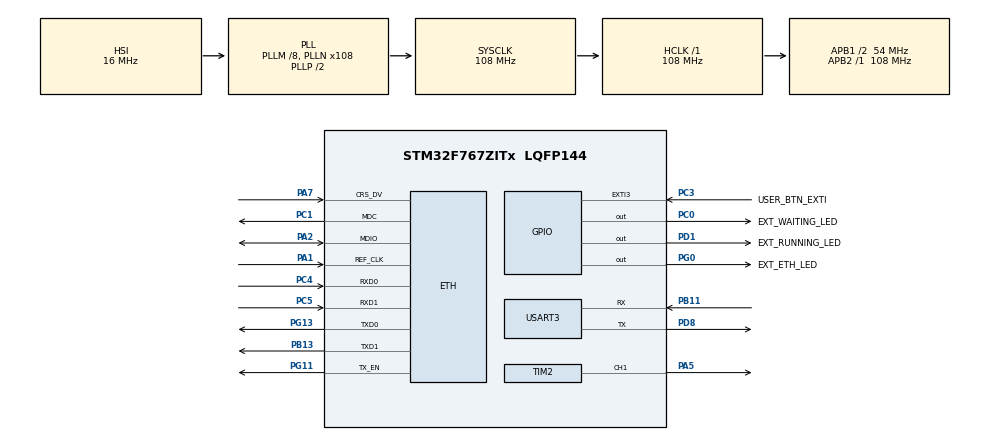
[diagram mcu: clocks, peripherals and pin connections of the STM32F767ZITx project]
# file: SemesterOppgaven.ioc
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CORTEX_M7.default_mode_Activation=1
ETH.MediaInterface=HAL_ETH_RMII_MODE
LWIP.BSP.number=1
LWIP.MEM_SIZE=16384
LWIP.Version=v2.1.2_Cube
LWIP0.BSP.STBoard=false
LWIP0.BSP.api=BSP_COMPONENT_DRIVER
LWIP0.BSP.component=LAN8742
LWIP0.BSP.instance=LAN8742
LWIP0.BSP.name=Driver_PHY
LWIP0.BSP.semaphore=S_LAN8742
LWIP0.BSP.solution=LAN8742
Mcu.Family=STM32F7
Mcu.Name=STM32F767ZITx
Mcu.Package=LQFP144
NVIC.EXTI3_IRQn=true\:0\:0\:false\:false\:true\:true\:true\:true
NVIC.PriorityGroup=NVIC_PRIORITYGROUP_4
NVIC.TIM2_IRQn=true\:0\:0\:false\:false\:true\:true\:true\:true
PA1.Mode=RMII
PA1.Signal=ETH_REF_CLK
PA2.Mode=RMII
PA2.Signal=ETH_MDIO
PA5.Signal=S_TIM2_CH1_ETR
PA7.Mode=RMII
PA7.Signal=ETH_CRS_DV
PB11.Mode=Asynchronous
PB11.Signal=USART3_RX
PB13.Mode=RMII
PB13.Signal=ETH_TXD1
PC0.GPIO_Label=EXT_WAITING_LED
PC0.Signal=GPIO_Output
PC1.Mode=RMII
PC1.Signal=ETH_MDC
PC3.GPIO_Label=USER_BTN_EXTI
PC3.Signal=GPXTI3
PC4.Mode=RMII
PC4.Signal=ETH_RXD0
PC5.Mode=RMII
PC5.Signal=ETH_RXD1
PD1.GPIO_Label=EXT_RUNNING_LED
PD1.Signal=GPIO_Output
PD8.Mode=Asynchronous
PD8.Signal=USART3_TX
PG0.GPIO_Label=EXT_ETH_LED
PG0.Signal=GPIO_Output
PG11.Mode=RMII
PG11.Signal=ETH_TX_EN
PG13.Mode=RMII
PG13.Signal=ETH_TXD0
PH0/OSC_IN.Mode=HSE-External-Oscillator
PH0/OSC_IN.Signal=RCC_OSC_IN
PH1/OSC_OUT.Mode=HSE-External-Oscillator
PH1/OSC_OUT.Signal=RCC_OSC_OUT
ProjectManager.HeapSize=0x200
ProjectManager.StackSize=0x400
ProjectManager.TargetToolchain=STM32CubeIDE
RCC.48MHZClocksFreq_Value=24000000
RCC.AHBFreq_Value=108000000
RCC.APB1CLKDivider=RCC_HCLK_DIV2
RCC.APB1Freq_Value=54000000
RCC.APB1TimFreq_Value=108000000
RCC.APB2Freq_Value=108000000
RCC.APB2TimFreq_Value=108000000
RCC.CortexFreq_Value=108000000
RCC.HCLKFreq_Value=108000000
RCC.HSE_VALUE=16000000
RCC.HSI_VALUE=16000000
RCC.LSE_VALUE=32768
RCC.PLLM=8
RCC.PLLMUL=RCC_PLL_MUL9
RCC.PLLN=108
RCC.PRESCALERUSB=RCC_USBCLKSOURCE_PLL_DIV1_5
RCC.SYSCLKFreq_VALUE=108000000
RCC.SYSCLKSource=RCC_SYSCLKSOURCE_PLLCLK
RCC.SYSCLKSourceVirtual=RCC_SYSCLKSOURCE_PLLCLK
RCC.USBFreq_Value=108000000
RCC.VCOOutputFreq_Value=216000000
SH.S_TIM2_CH1_ETR.0=TIM2_CH1,Output Compare1 CH1
TIM2.Channel-Output\ Compare1\ CH1=TIM_CHANNEL_1
TIM2.OC1Preload=DISABLE
TIM2.Period=4294967295
TIM2.Prescaler=108-1
TIM2.Pulse-Output\ Compare1\ CH1=10000
USART3.VirtualMode-Asynchronous=VM_ASYNC
VP_LWIP_VS_Enabled.Mode=Enabled
VP_TIM2_VS_ClockSourceINT.Mode=Internal
board=NUCLEO-F767ZI

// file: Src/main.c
/* USER CODE BEGIN Header */
/**
  ******************************************************************************
  * @file           : main.c
  * @brief          : Main program body
  ******************************************************************************
  * @attention
  *
  * Copyright (c) 2026 STMicroelectronics.
  * All rights reserved.
  *
  * This software is licensed under terms that can be found in the LICENSE file
  * in the root directory of this software component.
  * If no LICENSE file comes with this software, it is provided AS-IS.
  *
  ******************************************************************************
  */
/* USER CODE END Header */
#include "main.h"
#include "lwip.h"

/* USER CODE BEGIN Includes */
#include "lwip/netif.h"
#include "lwip/ip4_addr.h"
#include "lwip/tcp.h"
#include <stdio.h>
#include <string.h>
/* USER CODE END Includes */

TIM_HandleTypeDef htim2;

UART_HandleTypeDef huart3;

/* USER CODE BEGIN PV */
static struct tcp_pcb *http_pcb = NULL;

extern struct netif gnetif;

uint8_t ipPrinted = 0;

volatile uint8_t httpUpdatePending = 0;

uint32_t lastHttpUpdate = 0;

typedef enum {
  WAITING,
  ENTERING,
  RUNNING
} ChronometerState;

volatile ChronometerState state = WAITING;
volatile uint32_t newChronometer = 0;
volatile uint32_t timer_flag = 0; // Flag to indicate that the timer has elapsed
/* USER CODE END PV */

void SystemClock_Config(void);
static void MPU_Config(void);
static void MX_GPIO_Init(void);
static void MX_TIM2_Init(void);
static void MX_USART3_UART_Init(void);
/* USER CODE BEGIN PFP */
static void send_chronometer_post(void);
static err_t http_connected(void *arg,struct tcp_pcb *tpcb, err_t err);
static err_t http_receive(void *arg,struct tcp_pcb *tpcb,struct pbuf *p,err_t err);
static void http_error(void *arg,err_t err);

/* USER CODE END PFP */

/* USER CODE BEGIN 0 */
volatile uint32_t elapsedTime = 0; // // TIM2 elapsed count in microseconds
volatile uint32_t lastButtonPressTime = 0; // Variable to hold the last button press time
volatile uint32_t finalCount = 0;   // Saved TIM2 value at Stop press
volatile uint8_t stopEvent = 0;     // Tells main loop a stop occurred
char msg [100]; // Buffer to hold the message to be sent over UART
/* USER CODE END 0 */

int main(void)
{

  /* MPU Configuration--------------------------------------------------------*/
  MPU_Config();

  /* MCU Configuration--------------------------------------------------------*/

  /* Reset of all peripherals, Initializes the Flash interface and the Systick. */
  HAL_Init();

  /* Configure the system clock */
  SystemClock_Config();

  /* Initialize all configured peripherals */
  MX_GPIO_Init();
  MX_TIM2_Init();
  MX_USART3_UART_Init();
  MX_LWIP_Init();

  /* Infinite loop */
  while (1)
  {

    /* USER CODE BEGIN 3 */

    // Process incoming/outgoing Ethernet packets
    MX_LWIP_Process();
      if (!netif_is_link_up(&gnetif))
    {
      HAL_GPIO_WritePin(EXT_ETH_LED_GPIO_Port,EXT_ETH_LED_Pin,GPIO_PIN_RESET); // Reset the Ethernet LED to indicate link down
    }

      if (ipPrinted == 0 && netif_is_link_up(&gnetif) && !ip4_addr_isany_val(*netif_ip4_addr(&gnetif)))
    {
      const ip4_addr_t *ip = netif_ip4_addr(&gnetif);

      int len = snprintf(msg,sizeof(msg),"STM32 IP: %u.%u.%u.%u\r\n",
          ip4_addr1(ip),
          ip4_addr2(ip),
          ip4_addr3(ip),
          ip4_addr4(ip)
        );

        HAL_UART_Transmit(&huart3,(uint8_t *)msg,len,HAL_MAX_DELAY);
          ipPrinted = 1;
          httpUpdatePending = 1;
         }

        // Request a periodic update every 60 seconds
        if (ipPrinted == 1 && (HAL_GetTick() - lastHttpUpdate >= 60000))
      {
        httpUpdatePending = 1;
      }

      // Send update if one is pending and no HTTP connection is already active
        if (ipPrinted == 1 && httpUpdatePending == 1 && http_pcb == NULL)
      {
         httpUpdatePending = 0;
         lastHttpUpdate = HAL_GetTick();
         send_chronometer_post();
      }

       if (state == WAITING && newChronometer == 0 && stopEvent == 0)
      {

          HAL_TIM_OC_Stop_IT(&htim2, TIM_CHANNEL_1); // Stop the timer in output compare mode with interrupt
          state = WAITING; // Reset the state to waiting
          int len = snprintf(msg, sizeof(msg), "Press button to start \r\n");
          HAL_UART_Transmit(&huart3, (uint8_t *)msg, len, HAL_MAX_DELAY);
          HAL_GPIO_WritePin(EXT_WAITING_LED_GPIO_Port, EXT_WAITING_LED_Pin, GPIO_PIN_SET); // Turn on the WAITING LED
          newChronometer = 1; // Set the flag to indicate that we are waiting for button press

    }
      else if (state == ENTERING)
      {
          __HAL_TIM_SET_COUNTER(&htim2, 0); // Set the counter value to 0
          __HAL_TIM_SET_COMPARE(&htim2, TIM_CHANNEL_1, 10000);// Set the compare value to 10000
          HAL_TIM_OC_Start_IT(&htim2, TIM_CHANNEL_1);// Start the timer in output compare mode with interrupt
          HAL_GPIO_WritePin(EXT_WAITING_LED_GPIO_Port, EXT_WAITING_LED_Pin, GPIO_PIN_RESET); // Turn off WAITING LED
          HAL_GPIO_WritePin(EXT_RUNNING_LED_GPIO_Port, EXT_RUNNING_LED_Pin, GPIO_PIN_SET); // Turn on the RUNNING LED

          // Print the start/counting message once
          int len = snprintf(msg, sizeof(msg),"Counting... Press button to stop\r\n");
          HAL_UART_Transmit(&huart3, (uint8_t *)msg, len, HAL_MAX_DELAY);
          state = RUNNING; // Change the state to running

          // Send new RUNNING state to server
          httpUpdatePending = 1;
      }
      else if (state == RUNNING && timer_flag == 1) // Check if the timer has elapsed
          {
              timer_flag = 0; // Reset the flag to indicate that we have handled the timer event
              int len = snprintf(msg, sizeof(msg),"Time in MS: %lu\r\n",elapsedTime / 1000); // Convert microseconds to milliseconds
              HAL_UART_Transmit(&huart3, (uint8_t *)msg, len, HAL_MAX_DELAY);

          }

      if (stopEvent == 1)
          {
            // Stop TIM2. We already saved the important counter value,
            // so it does not matter if CNT moved slightly before this executes.
          HAL_TIM_OC_Stop_IT(&htim2, TIM_CHANNEL_1);
          HAL_GPIO_WritePin(EXT_RUNNING_LED_GPIO_Port, EXT_RUNNING_LED_Pin, GPIO_PIN_RESET); // Turn off the RUNNING LED
          // Convert microseconds to milliseconds.
          uint32_t milliseconds = finalCount / 1000;

          int len = snprintf(msg, sizeof(msg), "Total time: %lu ms\r\n", milliseconds);
           HAL_UART_Transmit(&huart3,(uint8_t *)msg,len, HAL_MAX_DELAY);
           stopEvent = 0;

           // Tell Mongoose that the chronometer stopped
           httpUpdatePending = 1;
          }
  }
  /* USER CODE END 3 */
}

void SystemClock_Config(void)
{
  RCC_OscInitTypeDef RCC_OscInitStruct = {0};
  RCC_ClkInitTypeDef RCC_ClkInitStruct = {0};

  /** Configure the main internal regulator output voltage
  */
  __HAL_RCC_PWR_CLK_ENABLE();
  __HAL_PWR_VOLTAGESCALING_CONFIG(PWR_REGULATOR_VOLTAGE_SCALE3);

  /** Initializes the RCC Oscillators according to the specified parameters
  * in the RCC_OscInitTypeDef structure.
  */
  RCC_OscInitStruct.OscillatorType = RCC_OSCILLATORTYPE_HSI;
  RCC_OscInitStruct.HSIState = RCC_HSI_ON;
  RCC_OscInitStruct.HSICalibrationValue = RCC_HSICALIBRATION_DEFAULT;
  RCC_OscInitStruct.PLL.PLLState = RCC_PLL_ON;
  RCC_OscInitStruct.PLL.PLLSource = RCC_PLLSOURCE_HSI;
  RCC_OscInitStruct.PLL.PLLM = 8;
  RCC_OscInitStruct.PLL.PLLN = 108;
  RCC_OscInitStruct.PLL.PLLP = RCC_PLLP_DIV2;
  RCC_OscInitStruct.PLL.PLLQ = 2;
  RCC_OscInitStruct.PLL.PLLR = 2;
  if (HAL_RCC_OscConfig(&RCC_OscInitStruct) != HAL_OK)
  {
    Error_Handler();
  }

  /** Activate the Over-Drive mode
  */
  if (HAL_PWREx_EnableOverDrive() != HAL_OK)
  {
    Error_Handler();
  }

  /** Initializes the CPU, AHB and APB buses clocks
  */
  RCC_ClkInitStruct.ClockType = RCC_CLOCKTYPE_HCLK|RCC_CLOCKTYPE_SYSCLK
                              |RCC_CLOCKTYPE_PCLK1|RCC_CLOCKTYPE_PCLK2;
  RCC_ClkInitStruct.SYSCLKSource = RCC_SYSCLKSOURCE_PLLCLK;
  RCC_ClkInitStruct.AHBCLKDivider = RCC_SYSCLK_DIV1;
  RCC_ClkInitStruct.APB1CLKDivider = RCC_HCLK_DIV2;
  RCC_ClkInitStruct.APB2CLKDivider = RCC_HCLK_DIV1;

  if (HAL_RCC_ClockConfig(&RCC_ClkInitStruct, FLASH_LATENCY_3) != HAL_OK)
  {
    Error_Handler();
  }
}

static void MX_TIM2_Init(void)
{

  TIM_ClockConfigTypeDef sClockSourceConfig = {0};
  TIM_MasterConfigTypeDef sMasterConfig = {0};
  TIM_OC_InitTypeDef sConfigOC = {0};

  htim2.Instance = TIM2;
  htim2.Init.Prescaler = 108-1;
  htim2.Init.CounterMode = TIM_COUNTERMODE_UP;
  htim2.Init.Period = 4294967295;
  htim2.Init.ClockDivision = TIM_CLOCKDIVISION_DIV1;
  htim2.Init.AutoReloadPreload = TIM_AUTORELOAD_PRELOAD_DISABLE;
  if (HAL_TIM_Base_Init(&htim2) != HAL_OK)
  {
    Error_Handler();
  }
  sClockSourceConfig.ClockSource = TIM_CLOCKSOURCE_INTERNAL;
  if (HAL_TIM_ConfigClockSource(&htim2, &sClockSourceConfig) != HAL_OK)
  {
    Error_Handler();
  }
  if (HAL_TIM_OC_Init(&htim2) != HAL_OK)
  {
    Error_Handler();
  }
  sMasterConfig.MasterOutputTrigger = TIM_TRGO_RESET;
  sMasterConfig.MasterSlaveMode = TIM_MASTERSLAVEMODE_DISABLE;
  if (HAL_TIMEx_MasterConfigSynchronization(&htim2, &sMasterConfig) != HAL_OK)
  {
    Error_Handler();
  }
  sConfigOC.OCMode = TIM_OCMODE_TIMING;
  sConfigOC.Pulse = 10000;
  sConfigOC.OCPolarity = TIM_OCPOLARITY_HIGH;
  sConfigOC.OCFastMode = TIM_OCFAST_DISABLE;
  if (HAL_TIM_OC_ConfigChannel(&htim2, &sConfigOC, TIM_CHANNEL_1) != HAL_OK)
  {
    Error_Handler();
  }
  HAL_TIM_MspPostInit(&htim2);

}

static void MX_USART3_UART_Init(void)
{

  huart3.Instance = USART3;
  huart3.Init.BaudRate = 115200;
  huart3.Init.WordLength = UART_WORDLENGTH_8B;
  huart3.Init.StopBits = UART_STOPBITS_1;
  huart3.Init.Parity = UART_PARITY_NONE;
  huart3.Init.Mode = UART_MODE_TX_RX;
  huart3.Init.HwFlowCtl = UART_HWCONTROL_NONE;
  huart3.Init.OverSampling = UART_OVERSAMPLING_16;
  huart3.Init.OneBitSampling = UART_ONE_BIT_SAMPLE_DISABLE;
  huart3.AdvancedInit.AdvFeatureInit = UART_ADVFEATURE_NO_INIT;
  if (HAL_UART_Init(&huart3) != HAL_OK)
  {
    Error_Handler();
  }

}

static void MX_GPIO_Init(void)
{
  GPIO_InitTypeDef GPIO_InitStruct = {0};

  /* GPIO Ports Clock Enable */
  __HAL_RCC_GPIOH_CLK_ENABLE();
  __HAL_RCC_GPIOC_CLK_ENABLE();
  __HAL_RCC_GPIOA_CLK_ENABLE();
  __HAL_RCC_GPIOG_CLK_ENABLE();
  __HAL_RCC_GPIOB_CLK_ENABLE();
  __HAL_RCC_GPIOD_CLK_ENABLE();

  /*Configure GPIO pin Output Level */
  HAL_GPIO_WritePin(EXT_WAITING_LED_GPIO_Port, EXT_WAITING_LED_Pin, GPIO_PIN_RESET);

  /*Configure GPIO pin Output Level */
  HAL_GPIO_WritePin(EXT_ETH_LED_GPIO_Port, EXT_ETH_LED_Pin, GPIO_PIN_RESET);

  /*Configure GPIO pin Output Level */
  HAL_GPIO_WritePin(EXT_RUNNING_LED_GPIO_Port, EXT_RUNNING_LED_Pin, GPIO_PIN_RESET);

  /*Configure GPIO pin : EXT_WAITING_LED_Pin */
  GPIO_InitStruct.Pin = EXT_WAITING_LED_Pin;
  GPIO_InitStruct.Mode = GPIO_MODE_OUTPUT_PP;
  GPIO_InitStruct.Pull = GPIO_NOPULL;
  GPIO_InitStruct.Speed = GPIO_SPEED_FREQ_LOW;
  HAL_GPIO_Init(EXT_WAITING_LED_GPIO_Port, &GPIO_InitStruct);

  /*Configure GPIO pin : USER_BTN_EXTI_Pin */
  GPIO_InitStruct.Pin = USER_BTN_EXTI_Pin;
  GPIO_InitStruct.Mode = GPIO_MODE_IT_RISING;
  GPIO_InitStruct.Pull = GPIO_NOPULL;
  HAL_GPIO_Init(USER_BTN_EXTI_GPIO_Port, &GPIO_InitStruct);

  /*Configure GPIO pin : EXT_ETH_LED_Pin */
  GPIO_InitStruct.Pin = EXT_ETH_LED_Pin;
  GPIO_InitStruct.Mode = GPIO_MODE_OUTPUT_PP;
  GPIO_InitStruct.Pull = GPIO_NOPULL;
  GPIO_InitStruct.Speed = GPIO_SPEED_FREQ_LOW;
  HAL_GPIO_Init(EXT_ETH_LED_GPIO_Port, &GPIO_InitStruct);

  /*Configure GPIO pin : EXT_RUNNING_LED_Pin */
  GPIO_InitStruct.Pin = EXT_RUNNING_LED_Pin;
  GPIO_InitStruct.Mode = GPIO_MODE_OUTPUT_PP;
  GPIO_InitStruct.Pull = GPIO_NOPULL;
  GPIO_InitStruct.Speed = GPIO_SPEED_FREQ_LOW;
  HAL_GPIO_Init(EXT_RUNNING_LED_GPIO_Port, &GPIO_InitStruct);

  /* EXTI interrupt init*/
  HAL_NVIC_SetPriority(EXTI3_IRQn, 0, 0);
  HAL_NVIC_EnableIRQ(EXTI3_IRQn);

}

/* USER CODE BEGIN 4 */
void HAL_GPIO_EXTI_Callback(uint16_t GPIO_Pin)
{
  uint32_t now = HAL_GetTick(); // Get the current tick value
  if(GPIO_Pin == USER_BTN_EXTI_Pin && now - lastButtonPressTime > 40) // Check if the button press is not a bounce
  {
    lastButtonPressTime = now;// Update the last button press time

  if (state == WAITING) // Check if the interrupt is from the user button
  {
    state = ENTERING; // Change the state to running
    newChronometer = 1; // Set the flag to indicate that we are running
  }

  if (state == RUNNING) // Check if the interrupt is from the user button and the state is running
  {
    finalCount = __HAL_TIM_GET_COUNTER(&htim2); // Save the current TIM2 value to finalCount
    stopEvent = 1; // Set the flag to indicate that a stop event has occurred
    state = WAITING; // Reset the state to waiting
    newChronometer = 0; // Reset the flag to indicate that we are waiting for button press
    timer_flag = 0; // Reset the flag to indicate that we have handled the timer event
  }

}
}

void HAL_TIM_OC_DelayElapsedCallback(TIM_HandleTypeDef *htim)
{
    if (htim->Instance == TIM2 &&
        htim->Channel == HAL_TIM_ACTIVE_CHANNEL_1)
    {
        elapsedTime = __HAL_TIM_GET_COUNTER(htim); // Update the elapsed time counter
        uint32_t next_compare = __HAL_TIM_GET_COMPARE(htim, TIM_CHANNEL_1) + 10000U;
        __HAL_TIM_SET_COMPARE(htim, TIM_CHANNEL_1, next_compare);
        timer_flag = 1; // Set the flag to indicate that the timer has elapsed

    }
}
static void http_error(void *arg, err_t err)
{
    HAL_GPIO_WritePin(EXT_ETH_LED_GPIO_Port, EXT_ETH_LED_Pin, GPIO_PIN_RESET); // Reset the Ethernet LED to indicate an error
    http_pcb = NULL;
}

static err_t http_receive(void *arg, struct tcp_pcb *tpcb, struct pbuf *p,err_t err)
{
    if (p == NULL)
    {
        // Server closed the connection
        tcp_close(tpcb);
        http_pcb = NULL;

        return ERR_OK;
    }

    if (err == ERR_OK)
    {
      HAL_GPIO_WritePin(EXT_ETH_LED_GPIO_Port, EXT_ETH_LED_Pin, GPIO_PIN_SET); // Turn on LED after successful server response
      // Tell LwIP that we received these bytes
      tcp_recved(tpcb, p->tot_len); // Acknowledge that we have received the data
    }

    pbuf_free(p); // Free the pbuf after processing

    return ERR_OK;
}

static err_t http_connected(void *arg,struct tcp_pcb *tpcb,err_t err)
{
    if (err != ERR_OK)
    {
        return err;
    }

    // Receive the server response
    tcp_recv(tpcb,http_receive);

    // Get actual chronometer values
    const char *state_text;
    uint32_t current_ms;

    if (state == RUNNING)
    {
        state_text = "RUNNING";
        // TIM2 is counting microseconds
        current_ms = __HAL_TIM_GET_COUNTER(&htim2) / 1000;
    }

    else if (state == ENTERING)
    {
        state_text = "ENTERING";
        current_ms = 0;
    }

    else
    {
        state_text = "WAITING";
        // Show the last stopped time
        current_ms = finalCount / 1000;
    }

    // Create JSON body
    char body[100];
    snprintf(body,sizeof(body),"{\"state\":\"%s\",\"elapsed_ms\":%lu}",state_text,(unsigned long) current_ms);

    // Create HTTP request
    char request[300];

    int request_length = snprintf(
        request,
        sizeof(request),

        "POST /api/chronometer HTTP/1.1\r\n"
        "Host: 192.168.10.115:8000\r\n"
        "Content-Type: application/json\r\n"
        "Content-Length: %u\r\n"
        "Connection: close\r\n"
        "\r\n"
        "%s",

        (unsigned int) strlen(body),
        body
    );

    // Send HTTP request
    err_t result = tcp_write(tpcb,request,request_length,TCP_WRITE_FLAG_COPY);
    if (result == ERR_OK)
    {
        result = tcp_output(tpcb);
    }

    return result;
}

static void send_chronometer_post(void)
{
    ip_addr_t server_ip;
    IP4_ADDR(&server_ip,192, 168, 10, 115);
    http_pcb = tcp_new();

    if (http_pcb == NULL)
    {
        return;
    }

    tcp_err(http_pcb,http_error);
    err_t result = tcp_connect(http_pcb, &server_ip,8000, http_connected);

    if (result != ERR_OK)
    {
        HAL_GPIO_WritePin(EXT_ETH_LED_GPIO_Port, EXT_ETH_LED_Pin, GPIO_PIN_RESET); // Reset the Ethernet LED to indicate an error
        tcp_abort(http_pcb);
        http_pcb = NULL;
    }
}

/* USER CODE END 4 */

 /* MPU Configuration */

void MPU_Config(void)
{
  MPU_Region_InitTypeDef MPU_InitStruct = {0};

  /* Disables the MPU */
  HAL_MPU_Disable();

  /** Initializes and configures the Region and the memory to be protected
  */
  MPU_InitStruct.Enable = MPU_REGION_ENABLE;
  MPU_InitStruct.Number = MPU_REGION_NUMBER0;
  MPU_InitStruct.BaseAddress = 0x0;
  MPU_InitStruct.Size = MPU_REGION_SIZE_4GB;
  MPU_InitStruct.SubRegionDisable = 0x87;
  MPU_InitStruct.TypeExtField = MPU_TEX_LEVEL0;
  MPU_InitStruct.AccessPermission = MPU_REGION_NO_ACCESS;
  MPU_InitStruct.DisableExec = MPU_INSTRUCTION_ACCESS_DISABLE;
  MPU_InitStruct.IsShareable = MPU_ACCESS_SHAREABLE;
  MPU_InitStruct.IsCacheable = MPU_ACCESS_NOT_CACHEABLE;
  MPU_InitStruct.IsBufferable = MPU_ACCESS_NOT_BUFFERABLE;

  HAL_MPU_ConfigRegion(&MPU_InitStruct);
  /* Enables the MPU */
  HAL_MPU_Enable(MPU_PRIVILEGED_DEFAULT);

}

void Error_Handler(void)
{
  __disable_irq();
  while (1)
  {
  }
}
